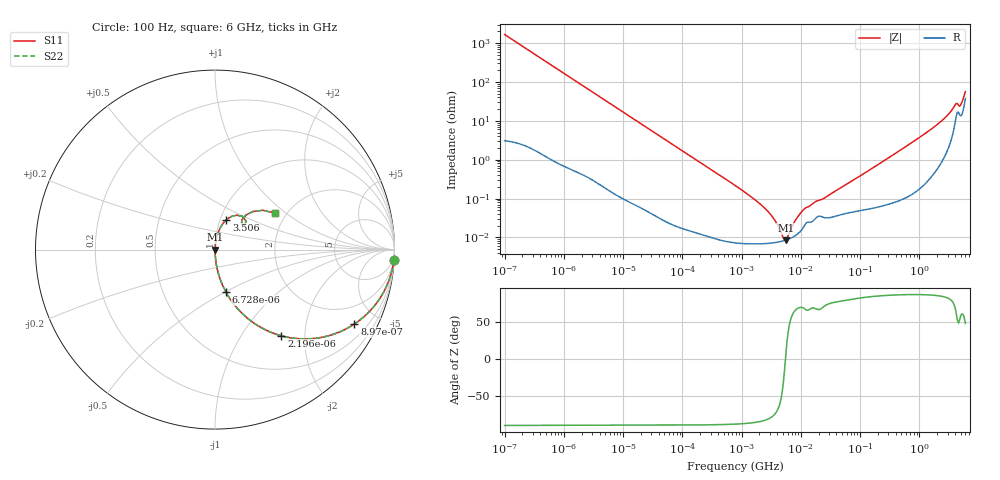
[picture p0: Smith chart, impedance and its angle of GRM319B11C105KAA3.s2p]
!Murata Part Number: GRM319B11C105KAA3
!These Parameters are Measured in Series Mode Connection
!Data Generated on Mar 30, 2021
!  o--ll--o
!Port1  Port2
!  o------o
!Operation Temp=25[degC], DC Bias Voltage=0[V]
!Freq. Start=100[Hz] Stop=6[GHz] 401[Steps]
# Hz S RI R 50
!Freq.(Hz) S11(Real) S11(Imag) S21(Real) S21(Imag) S12(Real) S12(Imag) S22(Real) S22(Imag)
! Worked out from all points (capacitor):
!   401 points, 100 Hz to 6 GHz, reference 50 ohm
!   read as one part in series: C = 953 nF near 109 Hz
!   lowest |Z| = 8.49 mohm at 5.555 MHz (marker M1)
!   series resonance near 5.502 MHz, so ESL is about 880 pH
!   S11 on the Smith chart (normalised r, x): 100 Hz: 1, -33; 897 Hz: 1.01, -3.74; 2.196 kHz: 1.01, -1.53; 6.728 kHz: 1.00, -0.50; 3.506 GHz: 1.07, +0.36; 6 GHz: 1.75, +0.84
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100  0.9963 -0.0597  0.00369 0.0597  0.00369 0.0597  0.9963 -0.0597
401  0.9451 -0.2261  0.0549 0.2261  0.0549 0.2261  0.9451 -0.2261
897  0.7764 -0.4147  0.2236 0.4147  0.2236 0.4147  0.7764 -0.4147
2008  0.4121 -0.4897  0.5879 0.4897  0.5879 0.4897  0.4121 -0.4897
2196  0.3698 -0.4802  0.6302 0.4802  0.6302 0.4802  0.3698 -0.4802
3759  0.1685 -0.3716  0.8315 0.3716  0.8315 0.3716  0.1685 -0.3716
6728  0.0603 -0.2353  0.9397 0.2353  0.9397 0.2353  0.0603 -0.2353
15062  0.0131 -0.1108  0.9869 0.1108  0.9869 0.1108  0.0131 -0.1108
40335  0.00208 -0.042  0.9979 0.042  0.9979 0.042  0.00208 -0.042
774597  7.68e-05 -0.00218  0.9999 0.00218  0.9999 0.00218  7.68e-05 -0.00218
2594782  6.96e-05 -0.000516  0.9999 0.000516  0.9999 0.000516  6.96e-05 -0.000516
3549919  7.29e-05 -0.000283  0.9999 0.000283  0.9999 0.000283  7.29e-05 -0.000283
4856642  7.99e-05 -7.83e-05  0.9999 7.83e-05  0.9999 7.83e-05  7.99e-05 -7.83e-05
5554849  8.47e-05 6.1e-06  0.9999 -6.1e-06  0.9999 -6.1e-06  8.47e-05 6.1e-06
9941735  0.000145 0.000399  0.9999 -0.000399  0.9999 -0.000399  0.000145 0.000399
1.555665e7  0.000256 0.000669  0.9997 -0.000669  0.9997 -0.000669  0.000256 0.000669
3.124326e8  0.000851 0.0114  0.9991 -0.0114  0.9991 -0.0114  0.000851 0.0114
1.712697e9  0.00841 0.0655  0.9916 -0.0655  0.9916 -0.0655  0.00841 0.0655
3.505958e9  0.0624 0.1647  0.9376 -0.1647  0.9376 -0.1647  0.0624 0.1647
4.009986e9  0.1218 0.1917  0.8782 -0.1917  0.8782 -0.1917  0.1218 0.1917
5.016141e9  0.1497 0.1658  0.8503 -0.1658  0.8503 -0.1658  0.1497 0.1658
6e9  0.335 0.2036  0.665 -0.2036  0.665 -0.2036  0.335 0.2036
